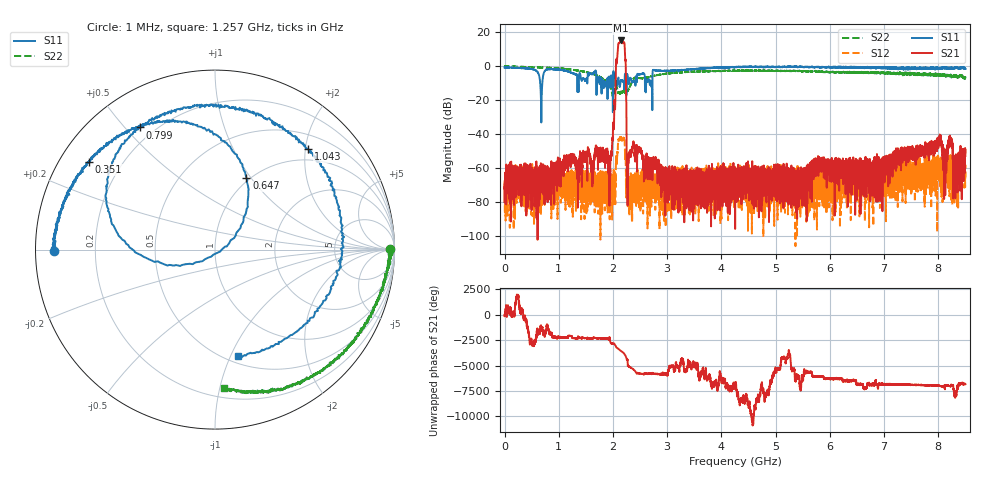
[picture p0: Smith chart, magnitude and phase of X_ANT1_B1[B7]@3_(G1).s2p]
#  HZ  S  RI  R  50.00
! Rohde & Schwarz Vector Network Analyzer
! Rohde-Schwarz,ZNBT8-20Port,1318700624101681,3.50
! Created: UTC 7/15/2025, 2:13:16 PM
! freq[Hz]  re:S1010  im:S1010  re:S0310  im:S0310  re:S1003  im:S1003  re:S33  im:S33
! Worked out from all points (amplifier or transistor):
!   8500 points, 1 MHz to 8.5 GHz, reference 50 ohm
!   highest |S21| = 15.0 dB at 2.144 GHz (marker M1)
!   |S21| within 3 dB of that: 2.095 GHz to 2.215 GHz (120.1 MHz wide, 5.57 % of centre)
!   unconditionally stable (mu >= 1): start of sweep to end of sweep
!   at 1.417 GHz: K = 766248.53, MAG = -53.4 dB, |S12| = -74.1 dB
!   at 4.251 GHz: K = 144388.11, MAG = -53.4 dB, |S12| = -67.8 dB
!   at 8.5 GHz: K = 107485.93, MAG = -47.0 dB, |S12| = -65.5 dB
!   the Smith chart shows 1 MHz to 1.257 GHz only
!   S11 on the Smith chart (normalised r, x): 1 MHz: 0.05, -0.00; 351 MHz: 0.09, +0.31; 647 MHz: 0.97, +0.95; 799 MHz: 0.15, +0.55; 1.043 GHz: 0.77, +2.05; 1.257 GHz: 0.56, -1.07
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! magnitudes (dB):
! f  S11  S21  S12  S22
! 1 MHz  -0.9  -71.0  -71.3  -0.2
! 351 MHz  -1.4  -75.7  -69.7  -0.5
! 647 MHz  -7.2  -67.0  -84.5  -0.9
! 799 MHz  -1.9  -63.0  -66.4  -1.1
! 1.043 GHz  -2.4  -65.0  -62.9  -1.5
! 1.257 GHz  -4.3  -52.6  -63.6  -2.2
! 1.418 GHz  -8.3  -59.0  -72.3  -3.0
! 1.948 GHz  -10.1  -63.4  -63.9  -12.2
! 2.009 GHz  -3.2  -33.5  -71.0  -17.6
! 2.089 GHz  -8.9  9.5  -47.7  -15.0
! 2.144 GHz  -8.8  15.0  -42.2  -15.5
! 2.205 GHz  -11.8  13.6  -42.9  -14.7
! 2.292 GHz  -10.4  -51.3  -68.0  -13.3
! 2.834 GHz  -2.8  -66.9  -66.9  -5.3
! 4.251 GHz  -0.6  -65.3  -67.8  -2.8
! 5.667 GHz  -0.4  -59.2  -64.1  -3.1
! 7.084 GHz  -1.0  -55.8  -67.0  -4.0
! 8.018 GHz  -1.3  -43.2  -54.8  -5.5
! 8.12 GHz  -1.3  -53.3  -73.0  -5.1
! 8.23 GHz  -1.3  -45.5  -61.5  -5.9
! 8.315 GHz  -1.3  -54.0  -55.1  -5.8
! 8.5 GHz  -1.7  -52.9  -65.5  -6.7
